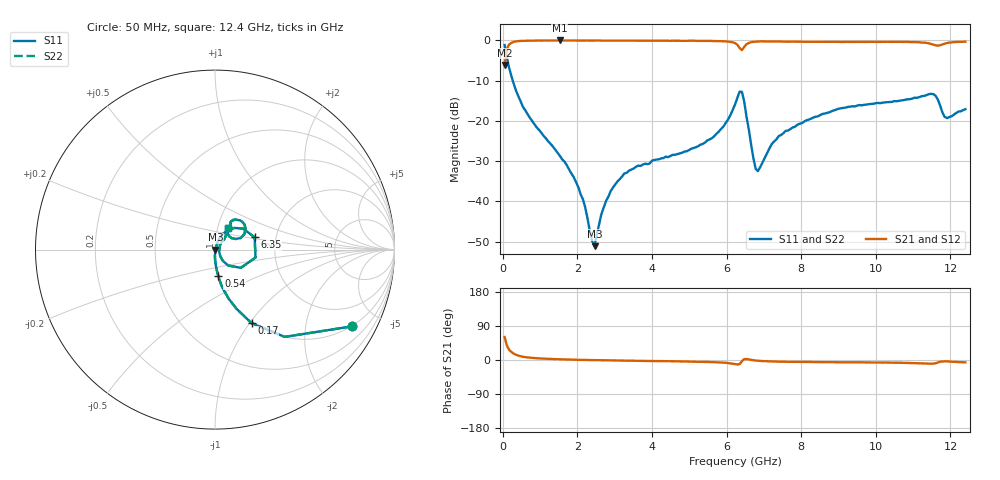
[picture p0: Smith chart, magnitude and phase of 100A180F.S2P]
!  American Technical Ceramics  Date:  3/13/98
!  One Norden Lane
!  Huntington Station,  NY.  11746-2102
!  Tel:  (516) 547-5700  Fax:  (516) 547-5748
!  Part Number  100A180F
!  Description: Porcelain, High Q, Low ESR
!  Application: Bypass, Coupling, Timing, Feedback
!  Tuning, Impedance Match, Blocking
# GHZ S DB R 50
! Freq  |S11|  S11 Ph  |S21|  S21 Ph  |S12|  S12 Ph  |S22|  S22 Ph
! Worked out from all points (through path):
!   201 points, 50 MHz to 12.4 GHz, reference 50 ohm
!   highest |S21| = 0.00 dB at 1.53 GHz (marker M1); lowest = -6.1 dB at 50 MHz (marker M2)
!   group delay of S21, straight-line fit = 3.59 ps
!   lowest |S11| = -51.1 dB at 2.46 GHz (marker M3), VSWR 1.01, Z = 50.3 + j0.0124 ohm
!   |S11| at or under -10 dB: 269.7 MHz to end of sweep
!   |S22| runs from -51.1 to -1.1 dB; largest |S21 - S12| = 0
!   S11 on the Smith chart (normalised r, x): 50 MHz: 0.98, -3.59; 170 MHz: 0.99, -1.02; 540 MHz: 0.99, -0.30; 6.35 GHz: 1.55, +0.22; 12.4 GHz: 1.13, +0.27
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0.05  -1.15 -29.2  -6.12 60.6  -6.12 60.6  -1.15 -29.2
0.11  -4.12 -51.4  -2.10 38.3  -2.10 38.3  -4.12 -51.4
0.17  -6.79 -63.6  -1.01 26.9  -1.01 26.9  -6.79 -63.6
0.54  -16.46 -82.6  -0.10 8.4  -0.10 8.4  -16.46 -82.6
1.53  -28.65 -90.0  0.00 1.9  0.00 1.9  -28.65 -90.0
2.15  -39.47 -84.5  -0.03 0.2  -0.03 0.2  -39.47 -84.5
2.46  -51.10 2.5  -0.02 -0.4  -0.02 -0.4  -51.10 2.5
2.64  -43.25 58.5  -0.04 -0.6  -0.04 -0.6  -43.25 58.5
3.01  -35.82 68.0  -0.02 -1.4  -0.02 -1.4  -35.82 68.0
4.19  -29.50 68.2  -0.05 -3.0  -0.05 -3.0  -29.50 68.2
5.61  -24.26 68.7  -0.14 -5.6  -0.14 -5.6  -24.26 68.7
6.23  -15.82 48.2  -0.67 -10.8  -0.67 -10.8  -15.82 48.2
6.35  -12.72 17.3  -1.89 -10.5  -1.89 -10.5  -12.72 17.3
6.47  -15.08 -35.2  -1.64 2.4  -1.64 2.4  -15.08 -35.2
6.72  -29.33 -41.6  -0.34 -0.9  -0.34 -0.9  -29.33 -41.6
6.84  -32.45 2.7  -0.27 -2.0  -0.27 -2.0  -32.45 2.7
7.4  -23.72 47.6  -0.26 -4.3  -0.26 -4.3  -23.72 47.6
8.32  -19.16 52.9  -0.34 -5.3  -0.34 -5.3  -19.16 52.9
10.36  -15.31 59.4  -0.35 -7.0  -0.35 -7.0  -15.31 59.4
11.54  -13.32 40.3  -1.01 -9.6  -1.01 -9.6  -13.32 40.3
11.91  -19.29 42.2  -0.63 -3.4  -0.63 -3.4  -19.29 42.2
12.4  -17.08 57.9  -0.30 -6.3  -0.30 -6.3  -17.08 57.9
